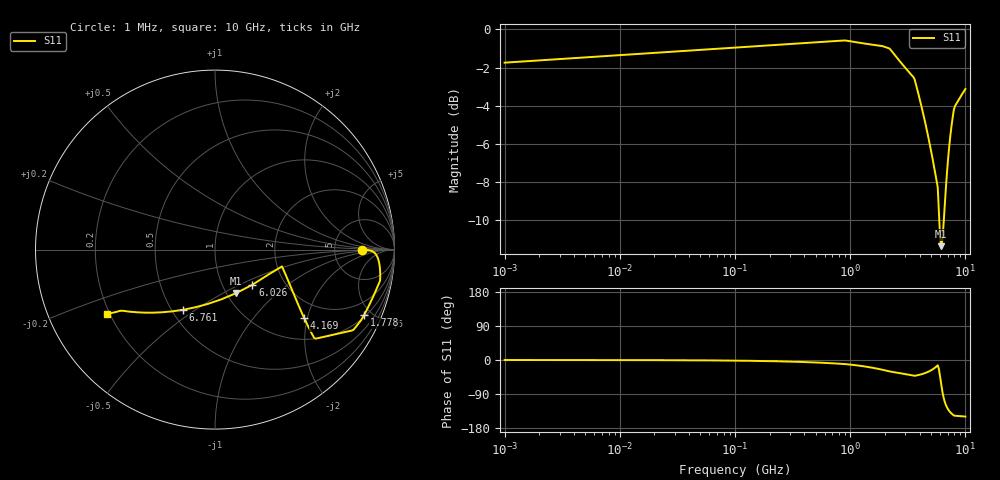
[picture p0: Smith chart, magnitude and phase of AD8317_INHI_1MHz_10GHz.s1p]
! AD8317 input impedance model, 1 MHz - 10 GHz (datasheet Rev.D R||C table, see ad8317_input_model.py)
! Reference impedance 50 ohm. INLO is ac-coupled RF common.
! 1-port: INHI to ground (INLO ac-grounded).
# HZ S RI R 50
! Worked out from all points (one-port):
!   401 points, 1 MHz to 10 GHz, reference 50 ohm
!   lowest |S11| = -11.4 dB at 6.166 GHz (marker M1), VSWR 1.74, Z = 55.5 - j29 ohm
!   |S11| at or under -10 dB: 5.935 GHz to 6.499 GHz (564.5 MHz wide, 9.08 % of centre)
!   S11 on the Smith chart (normalised r, x): 1 MHz: 10.00, -0.02; 1.778 GHz: 1.09, -4.50; 4.169 GHz: 1.53, -1.91; 6.026 GHz: 1.38, -0.59; 6.761 GHz: 0.57, -0.45; 10 GHz: 0.19, -0.27
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1000000  0.8182 -0.000363
3162278  0.837 -0.00107
1e7  0.8563 -0.00311
3.162278e7  0.8759 -0.00895
1.023293e8  0.896 -0.0259
3.162278e8  0.9139 -0.0705
6.16595e8  0.9203 -0.1257
1e9  0.9104 -0.1953
1.348963e9  0.8767 -0.2721
1.778279e9  0.8301 -0.3654
2.238721e9  0.7617 -0.4511
3.162278e9  0.6095 -0.4854
3.467369e9  0.5707 -0.4941
3.630781e9  0.5515 -0.4908
4.168694e9  0.4965 -0.3808
5.495409e9  0.3928 -0.1381
5.623413e9  0.3831 -0.116
5.754399e9  0.3731 -0.0935
6.025596e9  0.2087 -0.1955
6.16595e9  0.1187 -0.2421
6.309573e9  0.0349 -0.2773
6.456542e9  -0.0427 -0.3035
6.76083e9  -0.1801 -0.3357
7.079458e9  -0.2961 -0.3494
7.413102e9  -0.3939 -0.3512
7.943282e9  -0.5132 -0.341
8.317638e9  -0.5365 -0.3434
1e10  -0.5997 -0.3566
